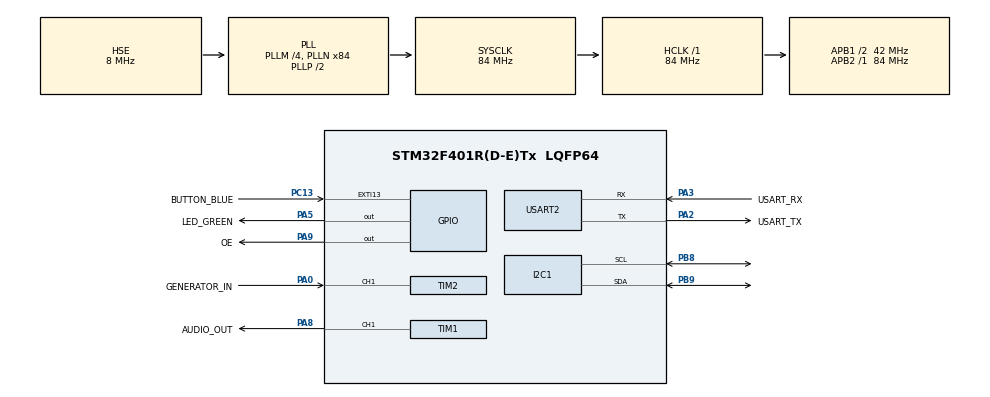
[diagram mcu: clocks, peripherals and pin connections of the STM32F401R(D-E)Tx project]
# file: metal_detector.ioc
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I2C1.OwnAddress=96
Mcu.Family=STM32F4
Mcu.Name=STM32F401R(D-E)Tx
Mcu.Package=LQFP64
NVIC.EXTI15_10_IRQn=true\:0\:0\:false\:false\:true\:true\:true\:true
NVIC.PriorityGroup=NVIC_PRIORITYGROUP_0
NVIC.TIM2_IRQn=true\:0\:0\:false\:false\:true\:true\:true\:true
PA0-WKUP.GPIO_Label=GENERATOR_IN
PA0-WKUP.Signal=S_TIM2_CH1_ETR
PA13.GPIO_Label=TMS
PA13.Mode=Serial_Wire
PA13.Signal=SYS_JTMS-SWDIO
PA14.GPIO_Label=TCK
PA14.Mode=Serial_Wire
PA14.Signal=SYS_JTCK-SWCLK
PA2.GPIO_Label=USART_TX
PA2.GPIO_Mode=GPIO_MODE_AF_PP
PA2.GPIO_PuPd=GPIO_NOPULL
PA2.GPIO_Speed=GPIO_SPEED_FREQ_LOW
PA2.Mode=Asynchronous
PA2.Signal=USART2_TX
PA3.GPIO_Label=USART_RX
PA3.GPIO_Mode=GPIO_MODE_AF_PP
PA3.GPIO_PuPd=GPIO_NOPULL
PA3.GPIO_Speed=GPIO_SPEED_FREQ_LOW
PA3.Mode=Asynchronous
PA3.Signal=USART2_RX
PA5.GPIO_Label=LED_GREEN
PA5.GPIO_Mode=GPIO_MODE_OUTPUT_PP
PA5.GPIO_PuPd=GPIO_NOPULL
PA5.GPIO_Speed=GPIO_SPEED_FREQ_LOW
PA5.Signal=GPIO_Output
PA8.GPIO_Label=AUDIO_OUT
PA8.Signal=S_TIM1_CH1
PA9.GPIO_Label=OE
PA9.PinState=GPIO_PIN_SET
PA9.Signal=GPIO_Output
PB3.GPIO_Label=SWO
PB3.Signal=SYS_JTDO-SWO
PB8.GPIO_Pu=GPIO_PULLUP
PB8.Mode=I2C
PB8.Signal=I2C1_SCL
PB9.GPIO_Pu=GPIO_PULLUP
PB9.Mode=I2C
PB9.Signal=I2C1_SDA
PC13-ANTI_TAMP.GPIO_Label=BUTTON_BLUE
PC13-ANTI_TAMP.GPIO_ModeDefaultEXTI=GPIO_MODE_IT_FALLING
PC13-ANTI_TAMP.GPIO_PuPd=GPIO_NOPULL
PC13-ANTI_TAMP.Signal=GPXTI13
PC14-OSC32_IN.Mode=LSE-External-Oscillator
PC14-OSC32_IN.Signal=RCC_OSC32_IN
PC15-OSC32_OUT.Mode=LSE-External-Oscillator
PC15-OSC32_OUT.Signal=RCC_OSC32_OUT
PH0\ -\ OSC_IN.Mode=HSE-External-Oscillator
PH0\ -\ OSC_IN.Signal=RCC_OSC_IN
PH1\ -\ OSC_OUT.Mode=HSE-External-Oscillator
PH1\ -\ OSC_OUT.Signal=RCC_OSC_OUT
ProjectManager.HeapSize=0x200
ProjectManager.StackSize=0x400
ProjectManager.TargetToolchain=STM32CubeIDE
RCC.48MHZClocksFreq_Value=24000000
RCC.AHBFreq_Value=84000000
RCC.APB1CLKDivider=RCC_HCLK_DIV2
RCC.APB1Freq_Value=42000000
RCC.APB1TimFreq_Value=84000000
RCC.APB2Freq_Value=84000000
RCC.APB2TimFreq_Value=84000000
RCC.CortexFreq_Value=84000000
RCC.EnbaleCSS=true
RCC.HCLKFreq_Value=84000000
RCC.HSE_VALUE=8000000
RCC.HSI_VALUE=16000000
RCC.PLLM=4
RCC.PLLN=84
RCC.PLLQ=7
RCC.PLLSourceVirtual=RCC_PLLSOURCE_HSE
RCC.SYSCLKFreq_VALUE=84000000
RCC.SYSCLKSource=RCC_SYSCLKSOURCE_PLLCLK
RCC.VCOOutputFreq_Value=168000000
SH.S_TIM1_CH1.0=TIM1_CH1,PWM Generation1 CH1
SH.S_TIM2_CH1_ETR.0=TIM2_CH1,Input_Capture1_from_TI1
TIM1.AutoReloadPreload=TIM_AUTORELOAD_PRELOAD_ENABLE
TIM1.Channel-PWM\ Generation1\ CH1=TIM_CHANNEL_1
TIM1.Period=1000-1
TIM1.Prescaler=84-1
TIM1.Pulse-PWM\ Generation1\ CH1=500
TIM2.AutoReloadPreload=TIM_AUTORELOAD_PRELOAD_ENABLE
TIM2.Channel-Input_Capture1_from_TI1=TIM_CHANNEL_1
TIM2.ClockDivision=TIM_CLOCKDIVISION_DIV1
TIM2.ICFilter_CH1=1
TIM2.ICPolarity_CH1=TIM_INPUTCHANNELPOLARITY_FALLING
TIM2.ICPrescaler-Input_Capture1_from_TI1=TIM_ICPSC_DIV8
TIM2.Prescaler=0
USART2.VirtualMode=VM_ASYNC
VP_TIM1_VS_ClockSourceINT.Mode=Internal
VP_TIM2_VS_ClockSourceINT.Mode=Internal
board=NUCLEO-F401RE

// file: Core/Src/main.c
/* USER CODE BEGIN Header */
/**
  ******************************************************************************
  * @file           : main.c
  * @brief          : Main program body
  ******************************************************************************
  * @attention
  *
  * Copyright (c) 2023 STMicroelectronics.
  * All rights reserved.
  *
  * This software is licensed under terms that can be found in the LICENSE file
  * in the root directory of this software component.
  * If no LICENSE file comes with this software, it is provided AS-IS.
  *
  ******************************************************************************
  */
/* USER CODE END Header */
#include "main.h"

/* USER CODE BEGIN Includes */
#include <stdlib.h>
/* USER CODE END Includes */

/* USER CODE BEGIN PD */
#define FREQUENCY_DEADZONE 5
#define IDLE_FREQUENCY 1000 //1kHz
#define OFFSET_AMPLIFICATION 1

#define LED_DRIVER_ADDR (96 << 1)
#define INDICATOR_FIRST_STEP_HZ 20
#define INDICATOR_STEP_AMPLIFICATION 3
/* USER CODE END PD */

I2C_HandleTypeDef hi2c1;

TIM_HandleTypeDef htim1;
TIM_HandleTypeDef htim2;

UART_HandleTypeDef huart2;

/* USER CODE BEGIN PV */
float averageFrequency, zeroFrequency;
/* USER CODE END PV */

void SystemClock_Config(void);
static void MX_GPIO_Init(void);
static void MX_USART2_UART_Init(void);
static void MX_TIM2_Init(void);
static void MX_TIM1_Init(void);
static void MX_I2C1_Init(void);
/* USER CODE BEGIN PFP */
void Set_PWM_Frequency_Offset(float);
void Init_LED_Driver();
void Set_LED_Indicator(float);
/* USER CODE END PFP */

int main(void)
{

  /* MCU Configuration--------------------------------------------------------*/

  /* Reset of all peripherals, Initializes the Flash interface and the Systick. */
  HAL_Init();

  /* Configure the system clock */
  SystemClock_Config();

  /* Initialize all configured peripherals */
  MX_GPIO_Init();
  MX_USART2_UART_Init();
  MX_TIM2_Init();
  MX_TIM1_Init();
  MX_I2C1_Init();
  /* USER CODE BEGIN 2 */
  HAL_TIM_IC_Start_IT(&htim2, TIM_CHANNEL_1);
  HAL_TIM_PWM_Start(&htim1, TIM_CHANNEL_1);
  Init_LED_Driver();
  /* USER CODE END 2 */

  /* Infinite loop */
  /* USER CODE BEGIN WHILE */
  HAL_Delay(500);
  zeroFrequency = averageFrequency;

  float frequencyOffset, currentOffset;

  while (1)
  {
    /* USER CODE END WHILE */

    /* USER CODE BEGIN 3 */
      frequencyOffset = (averageFrequency - zeroFrequency);
      if ((frequencyOffset > FREQUENCY_DEADZONE) || (frequencyOffset < -FREQUENCY_DEADZONE)){
          Set_PWM_Frequency_Offset(frequencyOffset);
          Set_LED_Indicator(frequencyOffset);
          currentOffset = frequencyOffset;
      }
      else if(currentOffset != 0){
          Set_PWM_Frequency_Offset(0);
          Set_LED_Indicator(0);
          currentOffset = 0;
      }

  }
  /* USER CODE END 3 */
}

void SystemClock_Config(void)
{
  RCC_OscInitTypeDef RCC_OscInitStruct = {0};
  RCC_ClkInitTypeDef RCC_ClkInitStruct = {0};

  /** Configure the main internal regulator output voltage
  */
  __HAL_RCC_PWR_CLK_ENABLE();
  __HAL_PWR_VOLTAGESCALING_CONFIG(PWR_REGULATOR_VOLTAGE_SCALE2);

  /** Initializes the RCC Oscillators according to the specified parameters
  * in the RCC_OscInitTypeDef structure.
  */
  RCC_OscInitStruct.OscillatorType = RCC_OSCILLATORTYPE_HSE;
  RCC_OscInitStruct.HSEState = RCC_HSE_ON;
  RCC_OscInitStruct.PLL.PLLState = RCC_PLL_ON;
  RCC_OscInitStruct.PLL.PLLSource = RCC_PLLSOURCE_HSE;
  RCC_OscInitStruct.PLL.PLLM = 4;
  RCC_OscInitStruct.PLL.PLLN = 84;
  RCC_OscInitStruct.PLL.PLLP = RCC_PLLP_DIV2;
  RCC_OscInitStruct.PLL.PLLQ = 7;
  if (HAL_RCC_OscConfig(&RCC_OscInitStruct) != HAL_OK)
  {
    Error_Handler();
  }

  /** Initializes the CPU, AHB and APB buses clocks
  */
  RCC_ClkInitStruct.ClockType = RCC_CLOCKTYPE_HCLK|RCC_CLOCKTYPE_SYSCLK
                              |RCC_CLOCKTYPE_PCLK1|RCC_CLOCKTYPE_PCLK2;
  RCC_ClkInitStruct.SYSCLKSource = RCC_SYSCLKSOURCE_PLLCLK;
  RCC_ClkInitStruct.AHBCLKDivider = RCC_SYSCLK_DIV1;
  RCC_ClkInitStruct.APB1CLKDivider = RCC_HCLK_DIV2;
  RCC_ClkInitStruct.APB2CLKDivider = RCC_HCLK_DIV1;

  if (HAL_RCC_ClockConfig(&RCC_ClkInitStruct, FLASH_LATENCY_2) != HAL_OK)
  {
    Error_Handler();
  }

  /** Enables the Clock Security System
  */
  HAL_RCC_EnableCSS();
}

static void MX_I2C1_Init(void)
{

  hi2c1.Instance = I2C1;
  hi2c1.Init.ClockSpeed = 100000;
  hi2c1.Init.DutyCycle = I2C_DUTYCYCLE_2;
  hi2c1.Init.OwnAddress1 = 192;
  hi2c1.Init.AddressingMode = I2C_ADDRESSINGMODE_7BIT;
  hi2c1.Init.DualAddressMode = I2C_DUALADDRESS_DISABLE;
  hi2c1.Init.OwnAddress2 = 0;
  hi2c1.Init.GeneralCallMode = I2C_GENERALCALL_DISABLE;
  hi2c1.Init.NoStretchMode = I2C_NOSTRETCH_DISABLE;
  if (HAL_I2C_Init(&hi2c1) != HAL_OK)
  {
    Error_Handler();
  }

}

static void MX_TIM1_Init(void)
{

  TIM_ClockConfigTypeDef sClockSourceConfig = {0};
  TIM_MasterConfigTypeDef sMasterConfig = {0};
  TIM_OC_InitTypeDef sConfigOC = {0};
  TIM_BreakDeadTimeConfigTypeDef sBreakDeadTimeConfig = {0};

  htim1.Instance = TIM1;
  htim1.Init.Prescaler = 84-1;
  htim1.Init.CounterMode = TIM_COUNTERMODE_UP;
  htim1.Init.Period = 1000-1;
  htim1.Init.ClockDivision = TIM_CLOCKDIVISION_DIV1;
  htim1.Init.RepetitionCounter = 0;
  htim1.Init.AutoReloadPreload = TIM_AUTORELOAD_PRELOAD_ENABLE;
  if (HAL_TIM_Base_Init(&htim1) != HAL_OK)
  {
    Error_Handler();
  }
  sClockSourceConfig.ClockSource = TIM_CLOCKSOURCE_INTERNAL;
  if (HAL_TIM_ConfigClockSource(&htim1, &sClockSourceConfig) != HAL_OK)
  {
    Error_Handler();
  }
  if (HAL_TIM_PWM_Init(&htim1) != HAL_OK)
  {
    Error_Handler();
  }
  sMasterConfig.MasterOutputTrigger = TIM_TRGO_RESET;
  sMasterConfig.MasterSlaveMode = TIM_MASTERSLAVEMODE_DISABLE;
  if (HAL_TIMEx_MasterConfigSynchronization(&htim1, &sMasterConfig) != HAL_OK)
  {
    Error_Handler();
  }
  sConfigOC.OCMode = TIM_OCMODE_PWM1;
  sConfigOC.Pulse = 500;
  sConfigOC.OCPolarity = TIM_OCPOLARITY_HIGH;
  sConfigOC.OCNPolarity = TIM_OCNPOLARITY_HIGH;
  sConfigOC.OCFastMode = TIM_OCFAST_DISABLE;
  sConfigOC.OCIdleState = TIM_OCIDLESTATE_RESET;
  sConfigOC.OCNIdleState = TIM_OCNIDLESTATE_RESET;
  if (HAL_TIM_PWM_ConfigChannel(&htim1, &sConfigOC, TIM_CHANNEL_1) != HAL_OK)
  {
    Error_Handler();
  }
  sBreakDeadTimeConfig.OffStateRunMode = TIM_OSSR_DISABLE;
  sBreakDeadTimeConfig.OffStateIDLEMode = TIM_OSSI_DISABLE;
  sBreakDeadTimeConfig.LockLevel = TIM_LOCKLEVEL_OFF;
  sBreakDeadTimeConfig.DeadTime = 0;
  sBreakDeadTimeConfig.BreakState = TIM_BREAK_DISABLE;
  sBreakDeadTimeConfig.BreakPolarity = TIM_BREAKPOLARITY_HIGH;
  sBreakDeadTimeConfig.AutomaticOutput = TIM_AUTOMATICOUTPUT_DISABLE;
  if (HAL_TIMEx_ConfigBreakDeadTime(&htim1, &sBreakDeadTimeConfig) != HAL_OK)
  {
    Error_Handler();
  }
  HAL_TIM_MspPostInit(&htim1);

}

static void MX_TIM2_Init(void)
{

  TIM_ClockConfigTypeDef sClockSourceConfig = {0};
  TIM_MasterConfigTypeDef sMasterConfig = {0};
  TIM_IC_InitTypeDef sConfigIC = {0};

  htim2.Instance = TIM2;
  htim2.Init.Prescaler = 0;
  htim2.Init.CounterMode = TIM_COUNTERMODE_UP;
  htim2.Init.Period = 4294967295;
  htim2.Init.ClockDivision = TIM_CLOCKDIVISION_DIV1;
  htim2.Init.AutoReloadPreload = TIM_AUTORELOAD_PRELOAD_ENABLE;
  if (HAL_TIM_Base_Init(&htim2) != HAL_OK)
  {
    Error_Handler();
  }
  sClockSourceConfig.ClockSource = TIM_CLOCKSOURCE_INTERNAL;
  if (HAL_TIM_ConfigClockSource(&htim2, &sClockSourceConfig) != HAL_OK)
  {
    Error_Handler();
  }
  if (HAL_TIM_IC_Init(&htim2) != HAL_OK)
  {
    Error_Handler();
  }
  sMasterConfig.MasterOutputTrigger = TIM_TRGO_RESET;
  sMasterConfig.MasterSlaveMode = TIM_MASTERSLAVEMODE_DISABLE;
  if (HAL_TIMEx_MasterConfigSynchronization(&htim2, &sMasterConfig) != HAL_OK)
  {
    Error_Handler();
  }
  sConfigIC.ICPolarity = TIM_INPUTCHANNELPOLARITY_FALLING;
  sConfigIC.ICSelection = TIM_ICSELECTION_DIRECTTI;
  sConfigIC.ICPrescaler = TIM_ICPSC_DIV8;
  sConfigIC.ICFilter = 1;
  if (HAL_TIM_IC_ConfigChannel(&htim2, &sConfigIC, TIM_CHANNEL_1) != HAL_OK)
  {
    Error_Handler();
  }

}

static void MX_USART2_UART_Init(void)
{

  huart2.Instance = USART2;
  huart2.Init.BaudRate = 115200;
  huart2.Init.WordLength = UART_WORDLENGTH_8B;
  huart2.Init.StopBits = UART_STOPBITS_1;
  huart2.Init.Parity = UART_PARITY_NONE;
  huart2.Init.Mode = UART_MODE_TX_RX;
  huart2.Init.HwFlowCtl = UART_HWCONTROL_NONE;
  huart2.Init.OverSampling = UART_OVERSAMPLING_16;
  if (HAL_UART_Init(&huart2) != HAL_OK)
  {
    Error_Handler();
  }

}

static void MX_GPIO_Init(void)
{
  GPIO_InitTypeDef GPIO_InitStruct = {0};

  /* GPIO Ports Clock Enable */
  __HAL_RCC_GPIOC_CLK_ENABLE();
  __HAL_RCC_GPIOH_CLK_ENABLE();
  __HAL_RCC_GPIOA_CLK_ENABLE();
  __HAL_RCC_GPIOB_CLK_ENABLE();

  /*Configure GPIO pin Output Level */
  HAL_GPIO_WritePin(LED_GREEN_GPIO_Port, LED_GREEN_Pin, GPIO_PIN_RESET);

  /*Configure GPIO pin Output Level */
  HAL_GPIO_WritePin(OE_GPIO_Port, OE_Pin, GPIO_PIN_SET);

  /*Configure GPIO pin : BUTTON_BLUE_Pin */
  GPIO_InitStruct.Pin = BUTTON_BLUE_Pin;
  GPIO_InitStruct.Mode = GPIO_MODE_IT_FALLING;
  GPIO_InitStruct.Pull = GPIO_NOPULL;
  HAL_GPIO_Init(BUTTON_BLUE_GPIO_Port, &GPIO_InitStruct);

  /*Configure GPIO pins : LED_GREEN_Pin OE_Pin */
  GPIO_InitStruct.Pin = LED_GREEN_Pin|OE_Pin;
  GPIO_InitStruct.Mode = GPIO_MODE_OUTPUT_PP;
  GPIO_InitStruct.Pull = GPIO_NOPULL;
  GPIO_InitStruct.Speed = GPIO_SPEED_FREQ_LOW;
  HAL_GPIO_Init(GPIOA, &GPIO_InitStruct);

  /* EXTI interrupt init*/
  HAL_NVIC_SetPriority(EXTI15_10_IRQn, 0, 0);
  HAL_NVIC_EnableIRQ(EXTI15_10_IRQn);

}

/* USER CODE BEGIN 4 */
void Set_PWM_Frequency_Offset(float frequencyOffset){

    int frequencyOffsetScaled = (int)(frequencyOffset*OFFSET_AMPLIFICATION);

    int newARR = (1000000/(IDLE_FREQUENCY-frequencyOffsetScaled)) - 1;
    int newCompare = newARR/2 - 1;
    __HAL_TIM_SET_AUTORELOAD(&htim1, newARR);
    __HAL_TIM_SET_COMPARE(&htim1, TIM_CHANNEL_1, newCompare);

}

void Init_LED_Driver(){

//    HAL_StatusTypeDef ret;
    uint8_t buf[30];

    //Sequential programming of all registers
    buf[0] = 0x80;
    //MODE1 register value
    buf[1] = 0x01;
    //MODE2 register value
    buf[2] = 0x05;

    //PWM0-PWM15 registers values (255)
    for(int i = 0; i < 16; i++){
        buf[3+i] = 0xFF;
    }

    //GRPPWM register value (48/256)
    buf[19] = 0x30;
    //GRPFREQ register value
    buf[20] = 0x00;

    for(int i=0; i<4; i++){
        buf[21+i] = 0xFF;
    }

    HAL_I2C_Master_Transmit(&hi2c1, LED_DRIVER_ADDR, buf, 25, HAL_MAX_DELAY);

    HAL_GPIO_WritePin(OE_GPIO_Port, OE_Pin, GPIO_PIN_RESET);

}

void Set_LED_Indicator(float frequencyOffset){

//    HAL_StatusTypeDef ret;
    uint8_t buf[5];
    buf[0] = 0x94;
    buf[1] = 0x00;
    buf[2] = 0x00;
    buf[3] = 0x00;
    buf[4] = 0x00;
    int frequencyOffsetAbs = (int)frequencyOffset;
    int indicator_step_hz = INDICATOR_FIRST_STEP_HZ;

    if(frequencyOffset == 0){
        //Sequential programming of registers LEDOUT0 to LEDOUT4
        buf[1] = 0x00;
        buf[2] = 0x00;
        buf[3] = 0x00;
        buf[4] = 0x00;
        HAL_I2C_Master_Transmit(&hi2c1, LED_DRIVER_ADDR, buf, 5, HAL_MAX_DELAY);
        return;
    }

    int currentReg = 1;
    // Non-magnetic
    if(frequencyOffset > 0){
        buf[1] = 0x03;
        currentReg = 1;
    }

    // Magnetic
    else{
        // LEDOUT3
        buf[3] = 0xFF;
        currentReg = 4;
        frequencyOffsetAbs *= -1;
    }

    if (frequencyOffsetAbs > indicator_step_hz){

        for(int i = 0; i < 3; i++){
            buf[currentReg] <<= 2;
            buf[currentReg] += 0x03;
            frequencyOffsetAbs -= indicator_step_hz;
            indicator_step_hz *= INDICATOR_STEP_AMPLIFICATION;

            if(frequencyOffsetAbs < indicator_step_hz)
                break;
        }
        if(frequencyOffsetAbs > indicator_step_hz){
            if(currentReg == 1){
                buf[currentReg+1] = 0x03;
            }
            else{
                buf[currentReg] <<= 2;
                buf[currentReg] += 0x03;
            }
        }
    }
    else{
        int a = 0;
    }

    HAL_I2C_Master_Transmit(&hi2c1, LED_DRIVER_ADDR, buf, 5, HAL_MAX_DELAY);

}
/* USER CODE END 4 */

void Error_Handler(void)
{
  __disable_irq();
  while (1)
  {
  }
}
